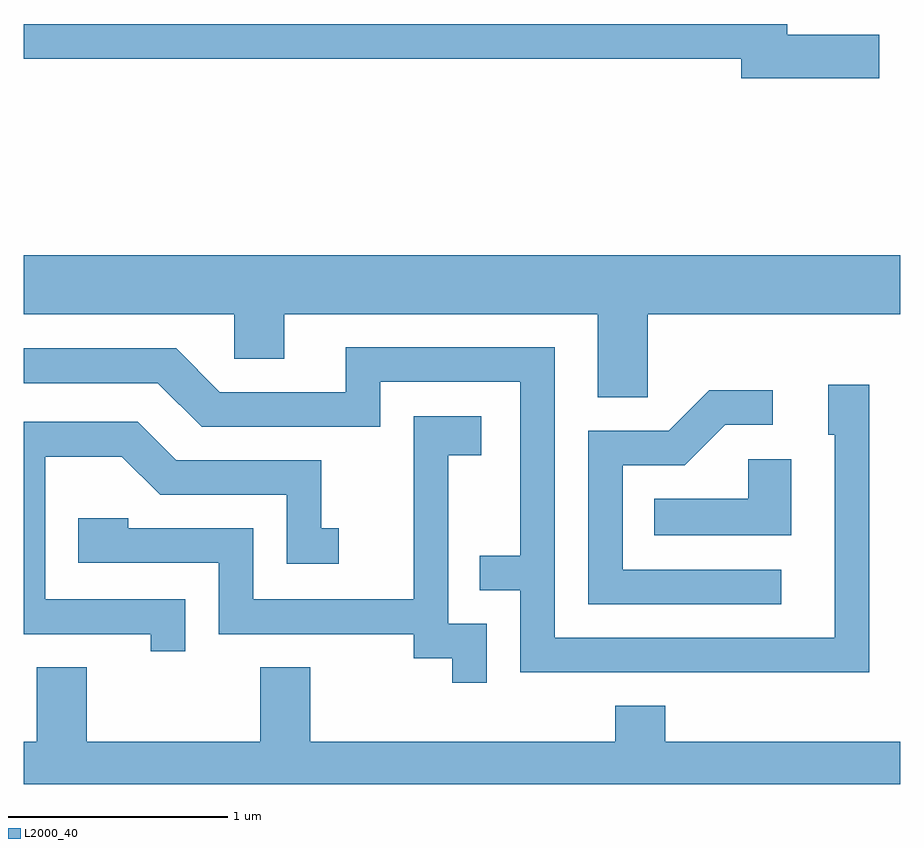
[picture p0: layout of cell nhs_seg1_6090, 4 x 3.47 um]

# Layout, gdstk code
import gdstk
lib = gdstk.Library(unit=1e-6, precision=1e-09)
def P(c, l, *ps):  # polygons
    for p in ps: c.add(gdstk.Polygon(p, *l))
L2000_40 = (2000, 40)

nhs_seg1_6090 = lib.new_cell('nhs_seg1_6090')
P(nhs_seg1_6090, L2000_40, [(373.514,843.129),(373.094,843.129),(373.094,843.179),(369.611,843.179),(369.611,843.021),(372.886,843.021),(372.886,842.931),(373.514,842.931)],
  [(372.459,841.856),(373.611,841.856),(373.611,842.124),(369.611,842.124),(369.611,841.856),(370.571,841.856),(370.571,841.651),(370.799,841.651),(370.799,841.856),(372.231,841.856),(372.231,841.476),(372.459,841.476)],
  [(373.469,841.534),(373.281,841.534),(373.281,841.306),(373.311,841.306),(373.311,840.379),(372.034,840.379),(372.034,841.704),(371.081,841.704),(371.081,841.499),(370.507,841.499),(370.307,841.699),(369.611,841.699),(369.611,841.541),(370.224,841.541),(370.424,841.341),(371.239,841.341),(371.239,841.546),(371.876,841.546),(371.876,840.754),(371.693,840.754),(371.693,840.596),(371.876,840.596),(371.876,840.221),(373.469,840.221)],
  [(373.068,840.689),(372.344,840.689),(372.344,841.166),(372.627,841.166),(372.812,841.351),(373.028,841.351),(373.028,841.509),(372.739,841.509),(372.554,841.324),(372.186,841.324),(372.186,840.531),(373.068,840.531)],
  [(371.724,840.444),(371.549,840.444),(371.549,841.211),(371.699,841.211),(371.699,841.389),(371.391,841.389),(371.391,840.554),(370.659,840.554),(370.659,840.879),(370.089,840.879),(370.089,840.924),(369.861,840.924),(369.861,840.721),(370.501,840.721),(370.501,840.396),(371.391,840.396),(371.391,840.286),(371.566,840.286),(371.566,840.173),(371.724,840.173)],
  [(370.349,840.554),(369.709,840.554),(369.709,841.206),(370.059,841.206),(370.234,841.031),(370.811,841.031),(370.811,840.716),(371.048,840.716),(371.048,840.879),(370.969,840.879),(370.969,841.189),(370.307,841.189),(370.132,841.364),(369.611,841.364),(369.611,840.396),(370.191,840.396),(370.191,840.318),(370.349,840.318)],
  [(373.114,841.194),(372.916,841.194),(372.916,841.014),(372.488,841.014),(372.488,840.846),(373.114,840.846)],
  [(373.611,839.904),(372.539,839.904),(372.539,840.069),(372.311,840.069),(372.311,839.904),(370.919,839.904),(370.919,840.244),(370.691,840.244),(370.691,839.904),(369.899,839.904),(369.899,840.244),(369.671,840.244),(369.671,839.904),(369.611,839.904),(369.611,839.712),(373.611,839.712)])

lib.write_gds('nhs_seg1_6090.gds')
